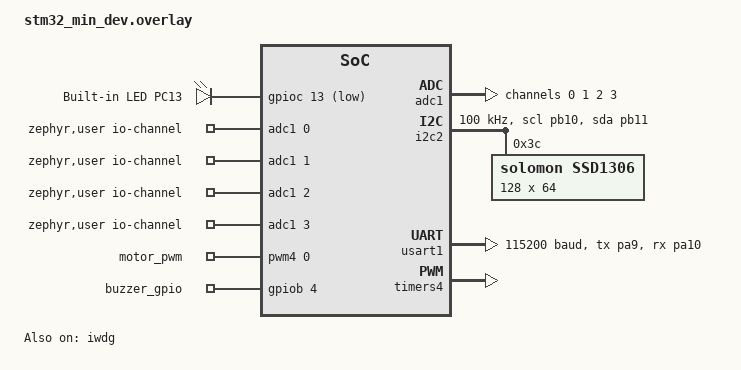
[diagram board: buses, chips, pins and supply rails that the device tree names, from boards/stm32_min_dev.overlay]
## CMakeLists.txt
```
# SPDX-License-Identifier: Apache-2.0
# GloveAssist — STM32F103 Application CMakeLists.txt

cmake_minimum_required(VERSION 3.20.0)

find_package(Zephyr REQUIRED HINTS $ENV{ZEPHYR_BASE})
project(gloveassist_stm32 LANGUAGES C)

# Shared + target-specific headers
target_include_directories(app PRIVATE
    ${CMAKE_CURRENT_SOURCE_DIR}/../common/include
    ${CMAKE_CURRENT_SOURCE_DIR}/include
)

# Common shared sources (protocol, CRC)
target_sources(app PRIVATE
    ../common/src/frame_protocol.c
)

# STM32-specific application sources
target_sources(app PRIVATE
    src/main.c
    src/sensor_logic.c
    src/safety_diag.c
    src/haptic_ui.c
    src/uart_comm.c
    src/security.c
    src/calibration.c
)
```

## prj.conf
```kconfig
# STM32 OPTIMIZED for 64KB - ALL HARDWARE FEATURES
# Gestures (ADC), OLED, Buzzer, Motor, UART

# === Kernel minimal ===
CONFIG_MULTITHREADING=y
CONFIG_MAIN_STACK_SIZE=384
CONFIG_SYSTEM_WORKQUEUE_STACK_SIZE=384
CONFIG_IDLE_STACK_SIZE=256
CONFIG_ISR_STACK_SIZE=512
CONFIG_HEAP_MEM_POOL_SIZE=512
CONFIG_EVENTS=y

# === Hardware ===
CONFIG_GPIO=y
CONFIG_ADC=y
CONFIG_I2C=y
# CONFIG_PWM=y  # Motor folosește software PWM (GPIO)
CONFIG_SERIAL=y
CONFIG_UART_INTERRUPT_DRIVEN=y
CONFIG_WATCHDOG=y

# === Flash and NVS (for calibration storage) ===
CONFIG_FLASH=y
CONFIG_FLASH_MAP=y
CONFIG_FLASH_PAGE_LAYOUT=y
CONFIG_NVS=y
CONFIG_MPU_ALLOW_FLASH_WRITE=y

# === Entropy for security (needed by sys_rand_get) ===
CONFIG_TEST_RANDOM_GENERATOR=y

# === OLED raw I2C driver in haptic_ui.c ===
# Keep Zephyr's display driver disabled so it does not initialise the same bus.
# CONFIG_DISPLAY is not set
# CONFIG_SSD1306 is not set

# === Logging MINIMAL ===
CONFIG_LOG=y
CONFIG_LOG_DEFAULT_LEVEL=2
CONFIG_LOG_MODE_MINIMAL=y
CONFIG_CONSOLE=n
CONFIG_UART_CONSOLE=n
CONFIG_EARLY_CONSOLE=n

# === Printf optimization ===
CONFIG_CBPRINTF_NANO=y
CONFIG_CBPRINTF_COMPLETE=n

# === Size optimizations ===
CONFIG_SIZE_OPTIMIZATIONS=y

# === Minimal features for size ===
CONFIG_BOOT_BANNER=n
CONFIG_THREAD_NAME=n
CONFIG_ASSERT=n
CONFIG_DEBUG=n
CONFIG_THREAD_MONITOR=n
CONFIG_STACK_SENTINEL=n
CONFIG_INIT_STACKS=n
CONFIG_TIMESLICING=n
```

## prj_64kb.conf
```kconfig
# STM32 OPTIMIZED for 64KB - ALL HARDWARE FEATURES
# Gestures (ADC), OLED, Buzzer, Motor, UART

# === Kernel minimal ===
CONFIG_MULTITHREADING=y
CONFIG_MAIN_STACK_SIZE=384
CONFIG_SYSTEM_WORKQUEUE_STACK_SIZE=384
CONFIG_IDLE_STACK_SIZE=256
CONFIG_ISR_STACK_SIZE=512
CONFIG_HEAP_MEM_POOL_SIZE=512
CONFIG_EVENTS=y

# === Hardware ===
CONFIG_GPIO=y
CONFIG_ADC=y
CONFIG_I2C=y
CONFIG_PWM=y
CONFIG_UART_INTERRUPT_DRIVEN=y
CONFIG_WATCHDOG=y

# === Display (OLED SSD1306) ===
CONFIG_DISPLAY=y
CONFIG_SSD1306=y
CONFIG_CHARACTER_FRAMEBUFFER=y
# Use minimal font
CONFIG_CFB_FONT_SIZE_8=y

# === Logging MINIMAL ===
CONFIG_LOG=y
CONFIG_LOG_DEFAULT_LEVEL=2
CONFIG_LOG_MODE_MINIMAL=y
CONFIG_PRINTK=n
CONFIG_EARLY_CONSOLE=n
CONFIG_CONSOLE=n

# === Printf optimization ===
CONFIG_CBPRINTF_NANO=y
CONFIG_CBPRINTF_COMPLETE=n

# === Size optimizations ===
CONFIG_SIZE_OPTIMIZATIONS=y
CONFIG_COMPILER_OPT="Os"
CONFIG_NO_OPTIMIZATIONS=n
CONFIG_DEBUG_OPTIMIZATIONS=n

# === Disable heavy features ===
CONFIG_ASSERT=n
CONFIG_DEBUG=n
CONFIG_THREAD_MONITOR=n
CONFIG_INIT_STACKS=n
CONFIG_BOOT_BANNER=n
CONFIG_THREAD_NAME=n

# === Memory minimal ===
CONFIG_TIMESLICING=n
CONFIG_KERNEL_MEM_POOL=n
```

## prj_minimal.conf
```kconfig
# STM32 MINIMAL TEST CONFIG - Hardware validation only
# Target: <30KB to fit in 64KB flash

# === Kernel basics ===
CONFIG_MAIN_STACK_SIZE=512
CONFIG_IDLE_STACK_SIZE=256
CONFIG_ISR_STACK_SIZE=512
CONFIG_SYSTEM_WORKQUEUE_STACK_SIZE=512

# === GPIO + UART only ===
CONFIG_GPIO=y
CONFIG_SERIAL=y
CONFIG_UART_INTERRUPT_DRIVEN=y
CONFIG_CONSOLE=y
CONFIG_UART_CONSOLE=y
CONFIG_PRINTK=y

# === Logging ===
CONFIG_LOG=y
CONFIG_LOG_DEFAULT_LEVEL=3
CONFIG_PRINTK_BUFFER_SIZE=128

# === Minimal memory ===
CONFIG_HEAP_MEM_POOL_SIZE=1024
CONFIG_SIZE_OPTIMIZATIONS=y

# === Thread info ===
CONFIG_THREAD_NAME=y
CONFIG_BOOT_BANNER=y
```

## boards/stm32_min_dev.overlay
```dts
/*
 * Board overlay for STM32F103C8 "Blue Pill" — GloveAssist STM32 app
 *
 * I2C2:  SSD1306 OLED (PB10 SCL, PB11 SDA)
 * UART1: ESP32 communication (PA9 TX, PA10 RX)
 * ADC:   PA0..PA3 (4 flex sensors, 1kΩ dividers)
 * GPIO:  PB4 active buzzer, PC13 built-in LED (active LOW)
 * PWM:   TIM4_CH1 PB6 motor vibrații via ULN2003
 *        NOTE: PA0 este ADC-only — motorul MUTAT pe PB6 (TIM4_CH1)
 * WDT:   IWDG 2s timeout
 */

/ {
	aliases {
		led0 = &led_builtin;
	};

	leds {
		compatible = "gpio-leds";
		led_builtin: led_0 {
			gpios = <&gpioc 13 GPIO_ACTIVE_LOW>;
			label = "Built-in LED PC13";
		};
	};
};

/* Override flash to 128 KB — most STM32F103C8 chips have 128 KB usable */
&flash0 {
	reg = <0x08000000 0x20000>;
};

/* PB4 is NJTRST after reset on STM32F103. Keep SWD enabled, release JTAG pins. */
&pinctrl {
	swj-cfg = "jtag-disable";
};

/ {
	zephyr,user {
		io-channels = <&adc1 0>, <&adc1 1>, <&adc1 2>, <&adc1 3>;
	};

	aliases {
		watchdog0 = &iwdg;
	};
};

/* ---- ADC (flex sensors PA0..PA3) ---- */
&adc1 {
	status = "okay";
	#address-cells = <1>;
	#size-cells = <0>;

	channel@0 {
		reg = <0>;
		zephyr,gain = "ADC_GAIN_1";
		zephyr,reference = "ADC_REF_INTERNAL";
		zephyr,acquisition-time = <ADC_ACQ_TIME_DEFAULT>;
		zephyr,resolution = <12>;
	};

	channel@1 {
		reg = <1>;
		zephyr,gain = "ADC_GAIN_1";
		zephyr,reference = "ADC_REF_INTERNAL";
		zephyr,acquisition-time = <ADC_ACQ_TIME_DEFAULT>;
		zephyr,resolution = <12>;
	};

	channel@2 {
		reg = <2>;
		zephyr,gain = "ADC_GAIN_1";
		zephyr,reference = "ADC_REF_INTERNAL";
		zephyr,acquisition-time = <ADC_ACQ_TIME_DEFAULT>;
		zephyr,resolution = <12>;
	};

	channel@3 {
		reg = <3>;
		zephyr,gain = "ADC_GAIN_1";
		zephyr,reference = "ADC_REF_INTERNAL";
		zephyr,acquisition-time = <ADC_ACQ_TIME_DEFAULT>;
		zephyr,resolution = <12>;
	};
};

/* ---- I2C2: OLED SSD1306 via PB10(SCL) PB11(SDA) ---- */
&i2c2 {
	status = "okay";
	pinctrl-0 = <&i2c2_scl_pb10 &i2c2_sda_pb11>;
	pinctrl-names = "default";
	clock-frequency = <I2C_BITRATE_STANDARD>;

	ssd1306: ssd1306@3c {
		compatible = "solomon,ssd1306";
		reg = <0x3c>;
		width = <128>;
		height = <64>;
		segment-offset = <0>;
		page-offset = <0>;
		display-offset = <0>;
		multiplex-ratio = <63>;
		prechargep = <0x22>;
		segment-remap;
		com-invdir;
	};
};

/* PB10/PB11 overlap USART3 pins in the base board DTS. */
&usart3 {
	status = "disabled";
};

/* ---- USART1: ESP32 inter-MCU communication (115200 baud, 8N1 prototype mode) ---- */
/*     PA9 TX → ESP32 GPIO16 RX                                        */
/*     PA10 RX ← ESP32 GPIO17 TX                                       */
&usart1 {
	status = "okay";
	pinctrl-0 = <&usart1_tx_pa9 &usart1_rx_pa10>;
	pinctrl-names = "default";
	current-speed = <115200>;
};

/* ---- Watchdog (IWDG) ---- */
&iwdg {
	status = "okay";
};

/* ---- PWM: TIM4_CH1 PB6 motor ---- */
/* Motor pe TIM4_CH1 (PB6) — PA0 rezervat exclusiv pentru ADC CH0 */
&timers4 {
	status = "okay";

	pwm4: pwm {
		status = "okay";
		pinctrl-0 = <&tim4_ch1_pwm_out_pb6>;
		pinctrl-names = "default";
	};
};

&i2c1 {
	status = "disabled";
};

/ {
	chosen {
		zephyr,display = &ssd1306;
	};

	/* PWM spec node — aliasul din haptic_ui.c cauta motor-pwm */
	pwm_devs {
		compatible = "pwm-leds";
		motor_pwm: motor_pwm {
			/* TIM4_CH1 (PB6), 1ms period, normal polarity */
			pwms = <&pwm4 0 1000000 0>;
		};
	};

	gpio_devs {
		compatible = "gpio-leds";
		buzzer_gpio: buzzer_gpio {
			gpios = <&gpiob 4 GPIO_ACTIVE_HIGH>;
		};
	};

	aliases {
		motor-pwm  = &motor_pwm;
		buzzergpio = &buzzer_gpio;
	};
};
```

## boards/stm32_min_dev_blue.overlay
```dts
/*
 * Variant overlay for STM32F103C8 "Blue Pill".
 *
 * The common hardware mapping lives in stm32_min_dev.overlay:
 *   - OLED SSD1306 on I2C2 PB10/PB11
 *   - USART1 PA9/PA10 at 115200 baud
 *   - PB4 active buzzer as GPIO
 *   - PB6 TIM4_CH1 motor PWM via ULN2003
 *
 * This variant only reserves the final 2 KB of flash for Zephyr NVS.
 */

&flash0 {
	reg = <0x08000000 0x20000>;

	partitions {
		compatible = "fixed-partitions";
		#address-cells = <1>;
		#size-cells = <1>;

		/* NVS: 2 pages x 1 KB at the end of 128 KB flash.
		 * Absolute range: 0x0801F800 - 0x0801FFFF.
		 */
		storage_partition: partition@1f800 {
			label = "storage";
			reg = <0x0001f800 0x00000800>;
		};
	};
};
```

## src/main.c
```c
/**
 * @file main.c
 * @brief GloveAssist STM32 firmware — entry point and thread definitions
 *
 * STM32F103 responsibilities:
 *   - ADC acquisition (4 flex sensors)
 *   - Gesture classification (rule-based)
 *   - UART communication to ESP32 (USART1: PA9 TX, PA10 RX @ 115200 baud)
 *   - OLED display (SSD1306 via I2C2)
 *   - Haptic feedback (motor TIM4_CH1 PB6, active buzzer GPIO PB4)
 *   - Safety: watchdog, sensor faults, ESP32 heartbeat monitor
 */

#include <zephyr/kernel.h>
#include <zephyr/logging/log.h>

#include "app_config.h"
#include "common_types.h"
#include "safety_diag.h"
#include "security.h"
#include "sensor_logic.h"
#include "uart_comm.h"
#include "haptic_ui.h"

LOG_MODULE_REGISTER(main, CONFIG_LOG_DEFAULT_LEVEL);

/* ---------- Thread definitions (auto-started) ---------- */
K_THREAD_DEFINE(safety_tid, STACK_SAFETY,
                safety_thread_entry, NULL, NULL, NULL,
                PRIO_SAFETY_THREAD, 0, 0);

K_THREAD_DEFINE(sensor_tid, STACK_SENSOR,
                sensor_thread_entry, NULL, NULL, NULL,
                PRIO_SENSOR_THREAD, 0, 0);

K_THREAD_DEFINE(haptic_tid, STACK_HAPTIC,
                haptic_thread_entry, NULL, NULL, NULL,
                PRIO_HAPTIC_THREAD, 0, 0);

K_THREAD_DEFINE(uart_comm_tid, STACK_UART_COMM,
                uart_comm_thread_entry, NULL, NULL, NULL,
                PRIO_UART_COMM_THREAD, 0, 0);

/* ---------- Shared message queue: sensor -> UART TX ---------- */
K_MSGQ_DEFINE(sensor_msgq, sizeof(sensor_packet_t), 8, 4);

int main(void)
{
    LOG_INF("=== GloveAssist STM32 firmware ===");
    LOG_INF("Threads: safety(P%d), uart_comm(P%d), sensor(P%d)",
            PRIO_SAFETY_THREAD, PRIO_UART_COMM_THREAD,
            PRIO_SENSOR_THREAD);

    /* Initialise safety subsystem (watchdog + heartbeat monitor) */
    int ret = safety_init();
    if (ret < 0) {
        LOG_ERR("Safety init failed: %d — continuing in degraded mode", ret);
    }

    ret = security_init();
    if (ret < 0) {
        LOG_ERR("Security init failed: %d", ret);
    }

    LOG_INF("All threads auto-started — main() returning to idle");
    return 0;
}
```

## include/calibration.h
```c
/**
 * @file calibration.h
 * @brief Calibrare automata praguri flex sensors cu stocare NVS
 *
 * Fluxul de calibrare:
 *   1. La pornire: calibration_init() incarca pragurile din NVS.
 *      Daca NVS e gol -> scrie defaults din app_config.h.
 *      Daca valorile ADC live difera >CALIB_DRIFT_PERCENT fata de NVS -> log warning.
 *
 *   2. La cerere (BLE CMD_CALIBRATE sau manual):
 *      calibration_start() face o sesiune interactiva:
 *        - 5s: masoara ADC cu degetele DREPTE  -> OPEN per canal
 *        - 5s: masoara ADC cu degetele INDOITE -> BENT per canal
 *        - calculeaza prag = (OPEN + BENT) / 2
 *        - scrie in NVS
 *        - actualizeaza k_thresh[] in sensor_logic la urmatorul ciclu
 *
 * NVS key: ID 10 = profil versionat cu magic/checksum.
 *          ID 1..3 sunt pastrate doar pentru migrare din format vechi.
 */

#ifndef CALIBRATION_H
#define CALIBRATION_H

#include <stdint.h>
#include <stdbool.h>
#include "common_types.h"

struct adc_dt_spec;

/* Procent maxim de deriva acceptabila inainte de warning recalibrare */
#define CALIB_DRIFT_PERCENT   20U
/* Durata masurare pentru o pozitie (ms) */
#define CALIB_MEASURE_MS    5000U
/* Numar de esantioane mediate per pozitie */
#define CALIB_NUM_SAMPLES     50U

/* NVS key IDs */
#define CALIB_NVS_ID_THRESH  1U   /* praguri curente uint16_t[4] */
#define CALIB_NVS_ID_OPEN    2U   /* referinte open  uint16_t[4] */
#define CALIB_NVS_ID_BENT    3U   /* referinte bent  uint16_t[4] */
#define CALIB_NVS_ID_PROFILE 10U  /* profil robust versionat + checksum */

/**
 * @brief Initializeaza subsistemul de calibrare.
 *
 * Deschide NVS filesystem, incarca pragurile salvate sau scrie defaults.
 * Trebuie apelata o singura data, inainte de first calibration_get_thresh().
 *
 * @return 0 la succes, negativ la eroare NVS.
 */
int calibration_init(void);

/**
 * @brief Returneaza pragul curent pentru un deget.
 *
 * @param finger  Index deget: FINGER_INDEX..FINGER_PINKY (din common_types.h)
 * @return Prag ADC 12-bit. Daca finger invalid -> returneaza GESTURE_THRESHOLD_BENT.
 */
uint16_t calibration_get_thresh(uint8_t finger);

/**
 * @brief Returneaza true daca calibrarea a fost facuta (NVS contine date reale).
 */
bool calibration_is_calibrated(void);

/**
 * @brief Salveaza manual un set de praguri in NVS.
 *
 * Actualizeza si cache-ul in-memory folosit de calibration_get_thresh().
 *
 * @param thresh  Array de NUM_FLEX_SENSORS valori uint16_t.
 * @return 0 la succes, negativ la eroare NVS.
 */
int calibration_save(const uint16_t thresh[NUM_FLEX_SENSORS]);

/**
 * @brief Seteaza si salveaza pragul pentru un singur deget.
 *
 * Folosit de BLE CMD_SET_THRESH.
 *
 * @param finger  FINGER_INDEX..FINGER_PINKY
 * @param value   Noua valoare ADC prag
 * @return 0 la succes, negativ la eroare.
 */
int calibration_save_one(uint8_t finger, uint16_t value);

/**
 * @brief Reseteaza pragurile la defaults din app_config.h si suprascrie NVS.
 *
 * @return 0 la succes, negativ la eroare NVS.
 */
int calibration_reset_to_defaults(void);

/**
 * @brief Request automatic calibration from another thread.
 *
 * The sensor thread owns the ADC channel descriptors, so BLE/UART command
 * handlers should call this non-blocking request instead of running
 * calibration_start() directly.
 */
void calibration_request_start(void);

/**
 * @brief Consume a pending automatic calibration request.
 *
 * @return true exactly once for each calibration_request_start() call.
 */
bool calibration_take_start_request(void);

/**
 * @brief Porneste o sesiune de calibrare automata interactiva.
 *
 * BLOCANTA — apeleaza din sensor_thread sau un thread dedicat.
 * Durata: ~10s + overhead ADC.
 *
 * Faza 1 (CALIB_MEASURE_MS): masoara ADC cu toate degetele DREPTE.
 * Faza 2 (CALIB_MEASURE_MS): masoara ADC cu toate degetele INDOITE.
 * Calculeaza prag = (open + bent) / 2, salveaza in NVS.
 *
 * @param adc_channels  Pointer la array de adc_dt_spec (din sensor_logic.c)
 * @return 0 la succes, negativ la eroare ADC/NVS.
 */
int calibration_start(const struct adc_dt_spec *adc_channels);

#endif /* CALIBRATION_H */
```

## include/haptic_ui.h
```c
/**
 * @file haptic_ui.h
 * @brief Haptic feedback (motor + buzzer) and OLED display API (STM32)
 */

#ifndef HAPTIC_UI_H
#define HAPTIC_UI_H

#include "common_types.h"

/**
 * @brief Haptic/UI thread entry point.
 *
 * Waits for K_EVENT flags and plays motor/buzzer patterns (software PWM):
 *   EVT_GESTURE_ACK  — short pulse on successful gesture detection
 *   EVT_ERROR        — double-beep error signal
 *   EVT_SOS_ALARM    — continuous SOS pattern (degraded mode)
 */
void haptic_thread_entry(void *p1, void *p2, void *p3);

/**
 * @brief Display a gesture and play the normal acknowledgement pattern.
 */
void haptic_notify_gesture(u8_t gesture_id);

/**
 * @brief Signal that a remote message/notification was received.
 */
void haptic_notify_message(void);

/**
 * @brief Signal the haptic thread to play an error pattern.
 *
 * Safe to call from any thread or ISR context.
 * No-op if CONFIG_PWM is not enabled.
 */
void haptic_notify_error(void);

/**
 * @brief Signal the haptic thread to play the degraded-mode SOS pattern.
 */
void haptic_notify_sos(void);

/**
 * @brief Signal that phone confirmed message ("inteles") — motor 2×pulse + OLED OK.
 *
 * Safe to call from any thread context.
 */
void haptic_notify_ack_received(void);

#endif /* HAPTIC_UI_H */
```

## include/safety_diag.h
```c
/**
 * @file safety_diag.h
 * @brief Safety subsystem API — watchdog, sensor validation, heartbeat monitor
 *
 * IEC 61508 Functional Safety:
 *   - Sensor open/short-circuit detection with fallback
 *   - IWDG watchdog (2s timeout)
 *   - ESP32 heartbeat monitoring → degraded mode with local alarm
 */

#ifndef SAFETY_DIAG_H
#define SAFETY_DIAG_H

#include "common_types.h"
#include "error_codes.h"

/**
 * @brief Initialise watchdog and heartbeat monitor.
 * @return 0 on success, negative on error.
 */
int safety_init(void);

/**
 * @brief Feed the hardware watchdog. Call from main processing loop.
 */
void safety_watchdog_feed(void);

/**
 * @brief Validate a sensor reading (open/short-circuit detection).
 *
 * After FAULT_THRESHOLD consecutive faults on a channel, the output
 * falls back to the last known good reading.
 *
 * @param ch   Channel index (0..3).
 * @param raw  Raw ADC reading.
 * @param out  Output: validated or fallback value.
 * @return ERR_SENSOR_OK or specific error code.
 */
error_code_t safety_validate_sensor(uint8_t ch, uint16_t raw, uint16_t *out);

/**
 * @brief Check if all sensors are in a fault state.
 * @return true if all channels have exceeded the fault threshold.
 */
bool safety_all_sensors_faulted(void);

/**
 * @brief Enter safe state: disable motor, stop BLE, show FAULT on OLED.
 */
void safety_enter_lockdown(void);

/**
 * @brief Notify safety subsystem that a heartbeat was received from ESP32.
 *
 * Called by UART RX thread when MSG_TYPE_HEARTBEAT is received.
 */
void safety_heartbeat_received(void);

/**
 * @brief Check if ESP32 is considered alive (heartbeat within timeout).
 * @return true if ESP32 heartbeat is current.
 */
bool safety_esp32_alive(void);

/**
 * @brief Check if system is in degraded mode (ESP32 unreachable).
 * @return true if operating in degraded mode.
 */
bool safety_is_degraded(void);

/**
 * @brief Safety monitor thread entry point (auto-started).
 *
 * Periodically checks ESP32 heartbeat, feeds watchdog, and triggers
 * local alarm if ESP32 is unresponsive for HEARTBEAT_TIMEOUT_MS.
 */
void safety_thread_entry(void *p1, void *p2, void *p3);

#endif /* SAFETY_DIAG_H */
```

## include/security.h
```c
/**
 * @file security.h
 * @brief BLE payload obfuscation, honeypot generation, anti-replay API (STM32)
 */

#ifndef SECURITY_H
#define SECURITY_H

#include <stdint.h>
#include "frame_protocol.h"

/**
 * @brief Initialise security subsystem (XOR key rotation timer, lockdown state).
 * @return 0 on success.
 */
int security_init(void);

/**
 * @brief XOR-obfuscate a payload buffer with the rotating key.
 *
 * @param payload  Buffer to obfuscate in-place.
 * @param len      Number of bytes to process.
 */
void security_xor_payload(uint8_t *payload, uint8_t len);

/**
 * @brief Build a randomised honeypot protocol frame.
 *
 * @param frame  Output frame (must not be NULL).
 * @return 0 on success, negative on error.
 */
int security_gen_honeypot(glove_frame_t *frame);

/**
 * @brief Validate a received protocol frame and track consecutive invalid frames.
 *
 * Triggers lockdown after LOCKDOWN_INVALID_FRAMES consecutive failures.
 *
 * @param frame  Received frame.
 * @return 0 if valid, ERR_SECURITY_LOCKDOWN or CRC error code otherwise.
 */
int security_check_frame(const glove_frame_t *frame);

#endif /* SECURITY_H */
```

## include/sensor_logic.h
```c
/**
 * @file sensor_logic.h
 * @brief STM32 Sensor Hub LITE (v2.0) API
 *
 * NEW ARCHITECTURE:
 * - STM32: ADC acquisition ONLY → sends RAW_ADC frames to ESP32 @ 50Hz
 * - ESP32: Filtering + Classification → sends GESTURE back
 * - STM32: Receives gesture → triggers haptic feedback
 */

#ifndef SENSOR_LOGIC_H
#define SENSOR_LOGIC_H

#include <stdint.h>

/**
 * @brief Sensor acquisition thread entry point (LITE version).
 *
 * Reads 4 flex sensors via ADC, sends RAW_ADC frames to ESP32 via UART.
 * No local filtering or classification.
 */
void sensor_thread_entry(void *p1, void *p2, void *p3);

/**
 * @brief Set current gesture (called from uart_comm when ESP32 sends GESTURE).
 * @param gesture_id Gesture ID from ESP32 (GESTURE_FIST, GESTURE_INDEX, etc.)
 */
void sensor_set_gesture(uint8_t gesture_id);

/**
 * @brief Get current gesture (received from ESP32).
 * @return Current gesture ID
 */
uint8_t sensor_get_current_gesture(void);

#endif /* SENSOR_LOGIC_H */
```

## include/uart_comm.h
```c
/**
 * @file uart_comm.h
 * @brief UART inter-MCU communication thread API (STM32 side)
 *
 * STM32 sends frames to ESP32 via USART1 (PA9 TX, PA10 RX).
 * Protocol: glove_frame_t, 12 bytes — SOF + TYPE + SEQ + PAYLOAD[8] XOR + CRC8.
 */

#ifndef UART_COMM_STM32_H
#define UART_COMM_STM32_H

#include "frame_protocol.h"

/**
 * @brief UART comm thread entry point (auto-started via K_THREAD_DEFINE).
 *
 * Periodically sends sensor/gesture frames to ESP32 and receives
 * heartbeat/command frames back. Calls safety_heartbeat_received() on HB RX.
 */
void uart_comm_thread_entry(void *p1, void *p2, void *p3);

#endif /* UART_COMM_STM32_H */
```

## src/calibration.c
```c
/**
 * @file calibration.c
 * @brief Calibrare automata praguri flex sensors cu stocare Zephyr NVS
 *
 * Partiție NVS: "storage" (label din overlay) — 2KB la 0x0801F800
 * Chei NVS:
 *   ID 10 (CALIB_NVS_ID_PROFILE): profil versionat cu magic + checksum
 *   ID 1..3: format vechi, pastrat pentru migrare automata
 */

#include <zephyr/kernel.h>
#include <zephyr/kvss/nvs.h>
#include <zephyr/storage/flash_map.h>
#include <zephyr/drivers/adc.h>
#include <zephyr/logging/log.h>
#include <string.h>

#include "app_config.h"
#include "common_types.h"
#include "calibration.h"

LOG_MODULE_REGISTER(calibration, CONFIG_LOG_DEFAULT_LEVEL);

/* ---------- NVS filesystem handle ---------- */
static struct nvs_fs nvs;

/* ---------- Cache in RAM (evita NVS read la fiecare ciclu) ---------- */
static uint16_t thresh_cache[NUM_FLEX_SENSORS];
static uint16_t open_cache[NUM_FLEX_SENSORS];
static uint16_t bent_cache[NUM_FLEX_SENSORS];
static bool     nvs_ready       = false;
static bool     is_calibrated   = false;
static atomic_t start_requested;

/* ---------- Default praguri din app_config.h (fallback) ---------- */
static const uint16_t k_defaults[NUM_FLEX_SENSORS] = {
    GESTURE_THRESH_INDEX,   /* FINGER_INDEX  */
    GESTURE_THRESH_MIDDLE,  /* FINGER_MIDDLE */
    GESTURE_THRESH_RING,    /* FINGER_RING   */
    GESTURE_THRESH_PINKY,   /* FINGER_PINKY  */
};

#define CALIB_PROFILE_MAGIC   0x474C5643UL  /* "GLVC" */
#define CALIB_PROFILE_VERSION 1U

typedef struct __attribute__((packed)) {
    uint32_t magic;
    uint16_t version;
    uint16_t size;
    uint8_t  calibrated;
    uint8_t  reserved[3];
    uint16_t thresh[NUM_FLEX_SENSORS];
    uint16_t open_ref[NUM_FLEX_SENSORS];
    uint16_t bent_ref[NUM_FLEX_SENSORS];
    uint32_t checksum;
} calibration_profile_t;

static uint32_t checksum_fnv1a(const void *data, size_t len)
{
    const uint8_t *bytes = (const uint8_t *)data;
    uint32_t hash = 2166136261UL;

    for (size_t i = 0U; i < len; i++) {
        hash ^= bytes[i];
        hash *= 16777619UL;
    }

    return hash;
}

static uint32_t profile_checksum(const calibration_profile_t *profile)
{
    return checksum_fnv1a(profile,
                          sizeof(*profile) - sizeof(profile->checksum));
}

static bool threshold_valid(uint16_t value)
{
    return ((value >= (uint16_t)ADC_MIN_VALID) &&
            (value <= (uint16_t)ADC_MAX_VALID));
}

static bool thresholds_valid(const uint16_t thresh[NUM_FLEX_SENSORS])
{
    for (uint8_t i = 0U; i < (uint8_t)NUM_FLEX_SENSORS; i++) {
        if (!threshold_valid(thresh[i])) {
            return false;
        }
    }

    return true;
}

static void profile_prepare(calibration_profile_t *profile,
                            const uint16_t thresh[NUM_FLEX_SENSORS],
                            const uint16_t open_ref[NUM_FLEX_SENSORS],
                            const uint16_t bent_ref[NUM_FLEX_SENSORS],
                            bool calibrated)
{
    (void)memset(profile, 0, sizeof(*profile));
    profile->magic = CALIB_PROFILE_MAGIC;
    profile->version = CALIB_PROFILE_VERSION;
    profile->size = (uint16_t)sizeof(*profile);
    profile->calibrated = calibrated ? 1U : 0U;
    (void)memcpy(profile->thresh, thresh, sizeof(profile->thresh));
    (void)memcpy(profile->open_ref, open_ref, sizeof(profile->open_ref));
    (void)memcpy(profile->bent_ref, bent_ref, sizeof(profile->bent_ref));
    profile->checksum = profile_checksum(profile);
}

static bool profile_validate(const calibration_profile_t *profile)
{
    bool valid = true;

    if (profile->magic != CALIB_PROFILE_MAGIC) {
        valid = false;
    } else if (profile->version != CALIB_PROFILE_VERSION) {
        valid = false;
    } else if (profile->size != (uint16_t)sizeof(*profile)) {
        valid = false;
    } else if (profile->checksum != profile_checksum(profile)) {
        valid = false;
    }

    if (valid) {
        for (uint8_t i = 0U; i < (uint8_t)NUM_FLEX_SENSORS; i++) {
            if (!threshold_valid(profile->thresh[i])) {
                valid = false;
                break;
            }
        }
    }

    return valid;
}

static void load_profile_to_cache(const calibration_profile_t *profile)
{
    (void)memcpy(thresh_cache, profile->thresh, sizeof(thresh_cache));
    (void)memcpy(open_cache, profile->open_ref, sizeof(open_cache));
    (void)memcpy(bent_cache, profile->bent_ref, sizeof(bent_cache));
    is_calibrated = (profile->calibrated != 0U);
}

static void fill_default_cache(void)
{
    (void)memcpy(thresh_cache, k_defaults, sizeof(thresh_cache));
    (void)memset(open_cache, 0, sizeof(open_cache));
    (void)memset(bent_cache, 0, sizeof(bent_cache));
    is_calibrated = false;
}

static void warn_threshold_drift(void)
{
    for (uint8_t i = 0U; i < (uint8_t)NUM_FLEX_SENSORS; i++) {
        uint32_t def  = (uint32_t)k_defaults[i];
        uint32_t cur  = (uint32_t)thresh_cache[i];
        uint32_t diff = (cur > def) ? (cur - def) : (def - cur);
        uint32_t pct  = (def > 0U) ? ((diff * 100U) / def) : 0U;

        if (pct > (uint32_t)CALIB_DRIFT_PERCENT) {
            LOG_WRN("Finger %u: prag=%u, default=%u, deriva=%u%% - "
                    "recalibrare recomandata",
                    i, thresh_cache[i], k_defaults[i], pct);
        }
    }
}

static int save_profile(bool calibrated)
{
    calibration_profile_t profile;

    if (!nvs_ready) {
        LOG_ERR("NVS nu e gata - salvare imposibila");
        return -ENODEV;
    }

    if (!thresholds_valid(thresh_cache)) {
        LOG_ERR("Prag invalid - profilul nu este salvat");
        return -EINVAL;
    }

    profile_prepare(&profile, thresh_cache, open_cache, bent_cache, calibrated);

    ssize_t rc = nvs_write(&nvs, CALIB_NVS_ID_PROFILE,
                           &profile, sizeof(profile));
    if (rc < 0) {
        LOG_ERR("nvs_write profile failed: %d", (int)rc);
        return (int)rc;
    }

    is_calibrated = calibrated;
    LOG_INF("Profil calibrare salvat v%u checksum=0x%08X",
            CALIB_PROFILE_VERSION, profile.checksum);
    return 0;
}

static bool try_load_profile(void)
{
    calibration_profile_t profile;
    ssize_t bytes = nvs_read(&nvs, CALIB_NVS_ID_PROFILE,
                             &profile, sizeof(profile));

    if (bytes != (ssize_t)sizeof(profile)) {
        return false;
    }

    if (!profile_validate(&profile)) {
        LOG_WRN("Profil calibrare NVS invalid - fallback/migrare");
        return false;
    }

    load_profile_to_cache(&profile);
    LOG_INF("Profil calibrare incarcat v%u: I=%u M=%u R=%u P=%u",
            profile.version,
            thresh_cache[FINGER_INDEX], thresh_cache[FINGER_MIDDLE],
            thresh_cache[FINGER_RING],  thresh_cache[FINGER_PINKY]);
    warn_threshold_drift();
    return true;
}

static bool try_migrate_legacy(void)
{
    uint16_t legacy_thresh[NUM_FLEX_SENSORS];
    ssize_t bytes = nvs_read(&nvs, CALIB_NVS_ID_THRESH,
                             legacy_thresh, sizeof(legacy_thresh));

    if (bytes != (ssize_t)sizeof(legacy_thresh)) {
        return false;
    }

    if (!thresholds_valid(legacy_thresh)) {
        LOG_WRN("Format vechi gasit, dar pragurile sunt invalide");
        return false;
    }

    (void)memcpy(thresh_cache, legacy_thresh, sizeof(thresh_cache));

    bytes = nvs_read(&nvs, CALIB_NVS_ID_OPEN, open_cache, sizeof(open_cache));
    if (bytes != (ssize_t)sizeof(open_cache)) {
        (void)memset(open_cache, 0, sizeof(open_cache));
    }

    bytes = nvs_read(&nvs, CALIB_NVS_ID_BENT, bent_cache, sizeof(bent_cache));
    if (bytes != (ssize_t)sizeof(bent_cache)) {
        (void)memset(bent_cache, 0, sizeof(bent_cache));
    }

    is_calibrated = true;
    LOG_INF("Migrare calibrare legacy -> profil versionat");
    (void)save_profile(true);
    warn_threshold_drift();
    return true;
}

/* ===================================================================== */
/*                         INIT                                          */
/* ===================================================================== */

int calibration_init(void)
{
    int rc;

    /* Obtine adresa si dimensiunea partitiei "storage" din flash map */
    const struct flash_area *fa;
    rc = flash_area_open(PARTITION_ID(storage_partition), &fa);
    if (rc < 0) {
        LOG_ERR("flash_area_open failed: %d", rc);
        /* Fallback la defaults in RAM chiar daca NVS nu e disponibil */
        fill_default_cache();
        return rc;
    }

    nvs.flash_device = fa->fa_dev;
    nvs.offset       = fa->fa_off;
    nvs.sector_size  = 1024U; /* 1KB per pagina STM32F103 */
    nvs.sector_count = 2U;    /* 2 pagini = 2KB total */

    rc = nvs_mount(&nvs);
    if (rc < 0) {
        LOG_ERR("nvs_mount failed: %d — folosesc defaults", rc);
        flash_area_close(fa);
        fill_default_cache();
        return rc;
    }
    nvs_ready = true;
    flash_area_close(fa);

    if (!try_load_profile() && !try_migrate_legacy()) {
        LOG_INF("NVS gol/corupt - scriu profil defaults");
        fill_default_cache();
        rc = save_profile(false);
        if (rc < 0) {
            LOG_ERR("Scriere profil defaults esuata: %d", rc);
        }
    }

    return 0;
}

/* ===================================================================== */
/*                         GET / QUERY                                   */
/* ===================================================================== */

uint16_t calibration_get_thresh(uint8_t finger)
{
    if (finger >= (uint8_t)NUM_FLEX_SENSORS) {
        return (uint16_t)GESTURE_THRESHOLD_BENT;
    }
    return thresh_cache[finger];
}

bool calibration_is_calibrated(void)
{
    return is_calibrated;
}

/* ===================================================================== */
/*                         SAVE                                          */
/* ===================================================================== */

int calibration_save(const uint16_t thresh[NUM_FLEX_SENSORS])
{
    if (!thresholds_valid(thresh)) {
        return -EINVAL;
    }

    (void)memcpy(thresh_cache, thresh, sizeof(thresh_cache));
    int rc = save_profile(true);
    if (rc == 0) {
        LOG_INF("Praguri salvate: I=%u M=%u R=%u P=%u",
                thresh_cache[FINGER_INDEX],  thresh_cache[FINGER_MIDDLE],
                thresh_cache[FINGER_RING],   thresh_cache[FINGER_PINKY]);
    }
    return rc;
}

int calibration_save_one(uint8_t finger, uint16_t value)
{
    if (finger >= (uint8_t)NUM_FLEX_SENSORS) {
        return -EINVAL;
    }
    if (!threshold_valid(value)) {
        return -EINVAL;
    }
    thresh_cache[finger] = value;
    return save_profile(true);
}

int calibration_reset_to_defaults(void)
{
    LOG_INF("Reset calibrare la defaults din app_config.h");
    fill_default_cache();
    return save_profile(false);
}

void calibration_request_start(void)
{
    atomic_set(&start_requested, 1);
}

bool calibration_take_start_request(void)
{
    return (atomic_set(&start_requested, 0) != 0);
}

/* ===================================================================== */
/*                         SESIUNE AUTO                                  */
/* ===================================================================== */

/**
 * @brief Masoara media ADC pe CALIB_MEASURE_MS pentru toate canalele.
 *
 * @param adc_channels  Array de ADC specs
 * @param out           Output: medie per canal (array NUM_FLEX_SENSORS)
 * @return 0 la succes, negativ la eroare ADC
 */
static int measure_average(const struct adc_dt_spec *adc_channels,
                            uint16_t out[NUM_FLEX_SENSORS])
{
    uint32_t sum[NUM_FLEX_SENSORS] = {0U};
    uint32_t count = 0U;
    int16_t  buf;
    struct adc_sequence seq = {
        .buffer      = &buf,
        .buffer_size = sizeof(buf),
    };

    int64_t deadline = k_uptime_get() + (int64_t)CALIB_MEASURE_MS;

    while (k_uptime_get() < deadline) {
        for (uint8_t ch = 0U; ch < (uint8_t)NUM_FLEX_SENSORS; ch++) {
            (void)adc_sequence_init_dt(&adc_channels[ch], &seq);
            int rc = adc_read_dt(&adc_channels[ch], &seq);
            if (rc < 0) {
                LOG_WRN("ADC ch%u eroare: %d", ch, rc);
                continue;
            }
            sum[ch] += (uint32_t)buf;
        }
        count++;
        k_msleep((uint32_t)CALIB_MEASURE_MS / CALIB_NUM_SAMPLES);
    }

    if (count == 0U) {
        return -EIO;
    }

    for (uint8_t ch = 0U; ch < (uint8_t)NUM_FLEX_SENSORS; ch++) {
        out[ch] = (uint16_t)(sum[ch] / count);
    }
    return 0;
}

int calibration_start(const struct adc_dt_spec *adc_channels)
{
    uint16_t open_val[NUM_FLEX_SENSORS] = {0U};
    uint16_t bent_val[NUM_FLEX_SENSORS] = {0U};
    uint16_t new_thresh[NUM_FLEX_SENSORS];
    int rc;

    LOG_INF("=== CALIBRARE START ===");
    LOG_INF("Faza 1: tine toate degetele DREPTE — %u secunde",
            CALIB_MEASURE_MS / 1000U);

    rc = measure_average(adc_channels, open_val);
    if (rc < 0) {
        LOG_ERR("Masurare OPEN esuata: %d", rc);
        return rc;
    }
    LOG_INF("OPEN: I=%u M=%u R=%u P=%u",
            open_val[FINGER_INDEX], open_val[FINGER_MIDDLE],
            open_val[FINGER_RING],  open_val[FINGER_PINKY]);

    LOG_INF("Faza 2: tine toate degetele INDOITE — %u secunde",
            CALIB_MEASURE_MS / 1000U);

    rc = measure_average(adc_channels, bent_val);
    if (rc < 0) {
        LOG_ERR("Masurare BENT esuata: %d", rc);
        return rc;
    }
    LOG_INF("BENT: I=%u M=%u R=%u P=%u",
            bent_val[FINGER_INDEX], bent_val[FINGER_MIDDLE],
            bent_val[FINGER_RING],  bent_val[FINGER_PINKY]);

    /* Calculeaza pragul: (open + bent) / 2 per canal */
    for (uint8_t i = 0U; i < (uint8_t)NUM_FLEX_SENSORS; i++) {
        new_thresh[i] = (uint16_t)(((uint32_t)open_val[i] +
                                    (uint32_t)bent_val[i]) / 2U);
    }

    LOG_INF("PRAG CALCULAT: I=%u M=%u R=%u P=%u",
            new_thresh[FINGER_INDEX], new_thresh[FINGER_MIDDLE],
            new_thresh[FINGER_RING],  new_thresh[FINGER_PINKY]);

    (void)memcpy(thresh_cache, new_thresh, sizeof(thresh_cache));
    (void)memcpy(open_cache, open_val, sizeof(open_cache));
    (void)memcpy(bent_cache, bent_val, sizeof(bent_cache));

    rc = save_profile(true);
    if (rc == 0) {
        LOG_INF("=== CALIBRARE COMPLETA — praguri salvate in NVS ===");
    }
    return rc;
}
```

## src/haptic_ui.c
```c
/**
 * @file haptic_ui.c
 * @brief Haptic feedback (motor + buzzer) and OLED display driver
 *
 * Motor:  ULN2003 low-side driver, software PWM on IN1
 * Buzzer: passive buzzer, software PWM (GPIO toggle at freq_hz)
 * OLED:   SSD1306 128×64 via I2C
 */

#include <zephyr/kernel.h>
/* Motor folosește software PWM (GPIO), nu hardware PWM */
/* #include <zephyr/drivers/pwm.h> */
#include <zephyr/drivers/gpio.h>
#include <zephyr/drivers/i2c.h>
#include <zephyr/logging/log.h>
#include <string.h>

#include "app_config.h"
#include "common_types.h"
#include "haptic_ui.h"

LOG_MODULE_REGISTER(haptic_ui, CONFIG_LOG_DEFAULT_LEVEL);

/* ---------- DeviceTree bindings ---------- */
/* Motor folosește software PWM (GPIO PB6) */
static const struct gpio_dt_spec motor_gpio = {
	.port = DEVICE_DT_GET(DT_NODELABEL(gpiob)),
	.pin = 6,
	.dt_flags = GPIO_ACTIVE_HIGH
};
static const struct gpio_dt_spec buzzer_gpio = GPIO_DT_SPEC_GET(DT_ALIAS(buzzergpio), gpios);

static const struct device *const oled_i2c_dev = DEVICE_DT_GET(DT_NODELABEL(i2c2));
static bool oled_ready;
static uint8_t oled_i2c_addr;
static uint8_t oled_col_offset;
static u8_t last_gesture_mask;

/* ---------- Event flags for haptic patterns ---------- */
K_EVENT_DEFINE(haptic_events);
#define EVT_GESTURE_ACK    BIT(0)
#define EVT_MESSAGE_RX     BIT(1)
#define EVT_ERROR          BIT(2)
#define EVT_SOS_ALARM      BIT(3)   /* Degraded mode: ESP32 down */
#define EVT_ACK_RECEIVED   BIT(4)   /* Phone confirmed "inteles" */

/* Gesture id shared between caller and haptic thread (for per-gesture beeps) */
static atomic_t s_pending_gesture_id;

/* ---------- OLED layout (lightweight, no font dependency) ---------- */
#define OLED_WIDTH_PX         128U
#define OLED_HEIGHT_PX         64U
#define OLED_PAGE_COUNT        (OLED_HEIGHT_PX / 8U)
#define OLED_BAR_COUNT          4U
#define OLED_BAR_WIDTH         20U
#define OLED_BAR_GAP           10U
#define OLED_BAR_X0             9U
#define OLED_ACTIVE_BAR_PAGES   6U
#define OLED_IDLE_BAR_PAGES     1U

/* ---------- Motor control via software PWM (GPIO toggle) ---------- */
/* PWM software: 100Hz (10ms period), duty 0-100% */
static void motor_pwm_soft(u8_t duty_percent, u32_t duration_ms)
{
    if (duty_percent == 0U) {
        gpio_pin_set_dt(&motor_gpio, 0);
        k_msleep(duration_ms);
        return;
    }
    
    if (duty_percent >= 100U) {
        gpio_pin_set_dt(&motor_gpio, 1);
        k_msleep(duration_ms);
        return;
    }
    
    u32_t period_ms = 10U;  /* 100Hz */
    u32_t on_time_ms = (period_ms * duty_percent) / 100U;
    u32_t off_time_ms = period_ms - on_time_ms;
    u32_t cycles = duration_ms / period_ms;
    
    for (u32_t i = 0U; i < cycles; i++) {
        gpio_pin_set_dt(&motor_gpio, 1);
        k_msleep(on_time_ms);
        gpio_pin_set_dt(&motor_gpio, 0);
        k_msleep(off_time_ms);
    }
}

static void motor_pulse(u32_t duration_ms)
{
    motor_pwm_soft(50U, duration_ms);  /* 50% duty pentru pulse normal */
}

/* ---------- Buzzer patterns ---------- */
/*
 * Software PWM pentru buzzer pasiv: toggle GPIO la freq_hz timp de duration_ms ms.
 * k_busy_wait este intenționat — perioadele sunt de ordinul sutelor de µs.
 */
static void buzzer_beep(u32_t freq_hz, u32_t duration_ms)
{
    if (freq_hz == 0U || duration_ms == 0U) {
        return;
    }

    u32_t half_period_us = 500000U / freq_hz; /* µs la jumătate de perioadă */
    u32_t total_us       = duration_ms * 1000U;
    u32_t elapsed        = 0U;

    while (elapsed < total_us) {
        gpio_pin_set_dt(&buzzer_gpio, 1);
        k_busy_wait(half_period_us);
        gpio_pin_set_dt(&buzzer_gpio, 0);
        k_busy_wait(half_period_us);
        elapsed += half_period_us * 2U;
    }
}

/* ---------- SOS pattern (degraded mode alarm) ---------- */
static void play_sos_pattern(void)
{
    /* SOS: ··· ——— ··· */
    /* 3 short beeps */
    for (u8_t i = 0U; i < 3U; i++) {
        motor_pulse(100U);
        buzzer_beep(2500U, 100U);
        k_msleep(50U);
    }
    k_msleep(150U);
    /* 3 long beeps */
    for (u8_t i = 0U; i < 3U; i++) {
        motor_pulse(HAPTIC_SOS_PULSE_MS);
        buzzer_beep(2500U, HAPTIC_SOS_PULSE_MS);
        k_msleep(100U);
    }
    k_msleep(150U);
    /* 3 short beeps */
    for (u8_t i = 0U; i < 3U; i++) {
        motor_pulse(100U);
        buzzer_beep(2500U, 100U);
        k_msleep(50U);
    }
}

/* ---------- OLED helpers ---------- */
static int oled_cmd(uint8_t cmd)
{
    uint8_t buf[2] = { 0x00U, cmd };

    return i2c_write(oled_i2c_dev, buf, sizeof(buf), oled_i2c_addr);
}

static int oled_data(const uint8_t *data, size_t len)
{
    uint8_t buf[1U + OLED_WIDTH_PX];

    if (len > OLED_WIDTH_PX) {
        return -EINVAL;
    }

    buf[0] = 0x40U;
    (void)memcpy(&buf[1], data, len);

    return i2c_write(oled_i2c_dev, buf, (uint32_t)(len + 1U), oled_i2c_addr);
}

static int oled_send_cmds(uint8_t addr, const uint8_t *cmds, size_t count)
{
    oled_i2c_addr = addr;
    for (size_t i = 0U; i < count; i++) {
        int rc = oled_cmd(cmds[i]);
        if (rc < 0) {
            return rc;
        }
    }

    return 0;
}

static int oled_init_ssd1306_at(uint8_t addr)
{
    static const uint8_t init_seq[] = {
        0xAEU,       /* display off */
        0xD5U, 0x80U,
        0xA8U, 0x3FU,
        0xD3U, 0x00U,
        0x40U,
        0x8DU, 0x14U,
        0x20U, 0x02U, /* page addressing, same as the working OLED test */
        0xA1U,
        0xC8U,
        0xDAU, 0x12U,
        0x81U, 0xCFU,
        0xD9U, 0xF1U,
        0xDBU, 0x40U,
        0xA4U,
        0xA6U,
        0xAFU        /* display on */
    };

    oled_col_offset = 0U;
    return oled_send_cmds(addr, init_seq, sizeof(init_seq));
}

static int oled_init_sh1106_at(uint8_t addr)
{
    static const uint8_t init_seq[] = {
        0xAEU,
        0xD5U, 0x80U,
        0xA8U, 0x3FU,
        0xD3U, 0x00U,
        0x40U,
        0xADU, 0x8BU,
        0xA1U,
        0xC8U,
        0xDAU, 0x12U,
        0x81U, 0x80U,
        0xD9U, 0x22U,
        0xDBU, 0x35U,
        0xA4U,
        0xA6U,
        0xAFU,
    };

    oled_col_offset = 2U;
    return oled_send_cmds(addr, init_seq, sizeof(init_seq));
}

static int oled_raw_init(void)
{
    if (!device_is_ready(oled_i2c_dev)) {
        LOG_WRN("OLED I2C2 bus not ready");
        return -ENODEV;
    }

    static const uint8_t addrs[] = { 0x3CU, 0x3DU };

    for (size_t i = 0U; i < ARRAY_SIZE(addrs); i++) {
        uint8_t addr = addrs[i];

        if (oled_init_ssd1306_at(addr) == 0) {
            LOG_INF("OLED SSD1306 init OK at 0x%02x", addr);
            return 0;
        }

        if (oled_init_sh1106_at(addr) == 0) {
            LOG_INF("OLED SH1106 init OK at 0x%02x", addr);
            return 0;
        }
    }

    oled_i2c_addr = 0U;
    oled_col_offset = 0U;
    LOG_WRN("OLED not found at 0x3c/0x3d");
    return -ENODEV;
}

static void oled_write_page(u8_t page, const uint8_t line[OLED_WIDTH_PX])
{
    if (!oled_ready || oled_i2c_addr == 0U) {
        return;
    }

    (void)oled_cmd((uint8_t)(0xB0U | (page & 0x07U)));
    (void)oled_cmd((uint8_t)(0x00U + (oled_col_offset & 0x0FU)));
    (void)oled_cmd((uint8_t)(0x10U + ((oled_col_offset >> 4U) & 0x0FU)));
    (void)oled_data(line, OLED_WIDTH_PX);
}

static u8_t gesture_to_mask(u8_t gesture_id)
{
    switch (gesture_id) {
    case GESTURE_INDEX:
        return (u8_t)(1U << FINGER_INDEX);
    case GESTURE_MIDDLE:
        return (u8_t)(1U << FINGER_MIDDLE);
    case GESTURE_RING:
        return (u8_t)(1U << FINGER_RING);
    case GESTURE_PINKY:
        return (u8_t)(1U << FINGER_PINKY);
    case GESTURE_FIST:
        return 0x0FU;
    case GESTURE_HELP:
        return (u8_t)((1U << FINGER_RING) | (1U << FINGER_PINKY));
    case GESTURE_NONE:
    default:
        return 0U;
    }
}

static void oled_draw_bars(u8_t active_mask, bool alarm)
{
    uint8_t line[OLED_WIDTH_PX];

    if (!oled_ready) {
        return;
    }

    for (u8_t page = 0U; page < OLED_PAGE_COUNT; page++) {
        (void)memset(line, 0x00, sizeof(line));

        for (u8_t finger = 0U; finger < OLED_BAR_COUNT; finger++) {
            bool active = ((active_mask & (u8_t)(1U << finger)) != 0U);
            u8_t bar_pages = active ? OLED_ACTIVE_BAR_PAGES : OLED_IDLE_BAR_PAGES;
            u8_t first_page_on = (u8_t)(OLED_PAGE_COUNT - bar_pages);

            if (page >= first_page_on) {
                u8_t x0 = (u8_t)(OLED_BAR_X0 + finger * (OLED_BAR_WIDTH + OLED_BAR_GAP));
                u8_t x1 = (u8_t)(x0 + OLED_BAR_WIDTH);

                if (x1 > OLED_WIDTH_PX) {
                    x1 = OLED_WIDTH_PX;
                }

                for (u8_t x = x0; x < x1; x++) {
                    line[x] = 0xFFU;
                }
            }
        }

        /* Bottom baseline stays visible in idle state too. */
        if (page == (OLED_PAGE_COUNT - 1U)) {
            for (u8_t x = 0U; x < OLED_WIDTH_PX; x++) {
                line[x] = (uint8_t)(line[x] | 0x03U);
            }
        }

        if (alarm) {
            line[0] = 0xFFU;
            line[1] = 0xFFU;
            line[OLED_WIDTH_PX - 2U] = 0xFFU;
            line[OLED_WIDTH_PX - 1U] = 0xFFU;

            if ((page == 0U) || (page == (OLED_PAGE_COUNT - 1U))) {
                (void)memset(line, 0xFF, sizeof(line));
            }
        }

        oled_write_page(page, line);
    }
}

static void oled_draw_boot_pattern(void)
{
    uint8_t line[OLED_WIDTH_PX];

    if (!oled_ready) {
        return;
    }

    memset(line, 0xFF, sizeof(line));

    for (u8_t page = 0U; page < OLED_PAGE_COUNT; page++) {
        oled_write_page(page, line);
        k_msleep(30U);
    }
}

static int oled_show_gesture(u8_t gesture_id)
{
    u8_t mask = gesture_to_mask(gesture_id);

    if (gesture_id > GESTURE_MAX_ID) {
        LOG_WRN("GESTURE invalid id=%u", gesture_id);
    }

    last_gesture_mask = mask;
    LOG_INF("GESTURE id=%u mask=0x%02x", gesture_id, mask);
    oled_draw_bars(mask, false);

    return 0;
}

/**
 * @brief Display "OK" pattern on OLED: 3 quick full-screen flashes.
 *
 * Used when phone confirms "inteles". No font needed — visible blink
 * pattern distinguishes ACK from normal gesture bar display.
 */
static void oled_show_ok(void)
{
    uint8_t line_full[OLED_WIDTH_PX];
    uint8_t line_empty[OLED_WIDTH_PX];
    if (!oled_ready) {
        return;
    }

    (void)memset(line_full,  0xFFU, sizeof(line_full));
    (void)memset(line_empty, 0x00U, sizeof(line_empty));

    /* 3 full-screen blink flashes = "OK received" */
    for (u8_t flash = 0U; flash < 3U; flash++) {
        /* Fill screen */
        for (u8_t page = 0U; page < OLED_PAGE_COUNT; page++) {
            oled_write_page(page, line_full);
        }
        k_msleep(120U);
        /* Clear screen */
        for (u8_t page = 0U; page < OLED_PAGE_COUNT; page++) {
            oled_write_page(page, line_empty);
        }
        k_msleep(80U);
    }

    /* Restore last gesture display */
    oled_draw_bars(last_gesture_mask, false);
}

/* ---------- Haptic thread ---------- */
void haptic_thread_entry(void *p1, void *p2, void *p3)
{
    ARG_UNUSED(p1);
    ARG_UNUSED(p2);
    ARG_UNUSED(p3);

    LOG_INF("Haptic/UI thread started");

    if (!device_is_ready(motor_gpio.port)) {
        LOG_ERR("Motor GPIO device not ready");
    } else if (gpio_pin_configure_dt(&motor_gpio, GPIO_OUTPUT_INACTIVE) != 0) {
        LOG_ERR("Motor GPIO configure failed");
    }
    if (!device_is_ready(buzzer_gpio.port)) {
        LOG_ERR("Buzzer GPIO device not ready");
    } else if (gpio_pin_configure_dt(&buzzer_gpio, GPIO_OUTPUT_INACTIVE) != 0) {
        LOG_ERR("Buzzer GPIO configure failed");
    }

    k_msleep(2000U);
    if (oled_raw_init() == 0) {
        oled_ready = true;
        oled_draw_boot_pattern();
        oled_draw_bars(0U, false);
        LOG_INF("OLED boot pattern shown");
    } else {
        oled_ready = false;
        LOG_WRN("OLED init failed");
    }

    while (1) {
        uint32_t events = k_event_wait(&haptic_events,
                                       EVT_GESTURE_ACK | EVT_MESSAGE_RX |
                                       EVT_ERROR | EVT_SOS_ALARM | EVT_ACK_RECEIVED,
                                       false, K_MSEC(OLED_REFRESH_MS));

        if (events & EVT_SOS_ALARM) {
            k_event_clear(&haptic_events, EVT_SOS_ALARM);
            play_sos_pattern();
        }

        if (events & EVT_GESTURE_ACK) {
            k_event_clear(&haptic_events, EVT_GESTURE_ACK);

            /* Per-gesture beep count: NONE=0, INDEX=1, MIDDLE=2, RING=3,
             * PINKY=4, FIST=5 (long), HELP=2 rapid (SOS-like) */
            static const uint8_t k_beep_count[] = {
                [GESTURE_NONE]   = 0U,
                [GESTURE_INDEX]  = 1U,
                [GESTURE_MIDDLE] = 2U,
                [GESTURE_RING]   = 3U,
                [GESTURE_PINKY]  = 4U,
                [GESTURE_FIST]   = 5U,
                [GESTURE_HELP]   = 2U,
            };

            u8_t gid = (u8_t)atomic_get(&s_pending_gesture_id);
            uint8_t beeps = (gid <= (u8_t)GESTURE_MAX_ID) ?
                            k_beep_count[gid] : 0U;

            /* Short motor pulse for tactile confirmation */
            motor_pulse(HAPTIC_GESTURE_PULSE_MS);

            /* N auditory beeps per gesture */
            for (u8_t b = 0U; b < beeps; b++) {
                buzzer_beep(2000U, 80U);
                k_msleep(100U);
            }
        }

        if (events & EVT_ACK_RECEIVED) {
            k_event_clear(&haptic_events, EVT_ACK_RECEIVED);
            /* "inteles" from phone: OLED flash + 2 ascending beeps + motor */
            oled_show_ok();
            motor_pulse(80U);
            k_msleep(60U);
            motor_pulse(80U);
            buzzer_beep(1200U, 80U);
            k_msleep(80U);
            buzzer_beep(2400U, 120U);
        }

        if (events & EVT_MESSAGE_RX) {
            k_event_clear(&haptic_events, EVT_MESSAGE_RX);
            motor_pulse(HAPTIC_MSG_PULSE_MS);
            k_msleep(100U);
            motor_pulse(HAPTIC_MSG_PULSE_MS);
        }

        if (events & EVT_ERROR) {
            k_event_clear(&haptic_events, EVT_ERROR);
            for (u8_t i = 0U; i < 3U; i++) {
                motor_pulse(HAPTIC_ERROR_PULSE_MS);
                buzzer_beep(1000U, HAPTIC_ERROR_PULSE_MS);
                k_msleep(50U);
            }
        }
    }
}

/* ---------- Public API ---------- */
void haptic_notify_gesture(u8_t gesture_id)
{
    atomic_set(&s_pending_gesture_id, (atomic_val_t)gesture_id);
    oled_show_gesture(gesture_id);
    k_event_post(&haptic_events, EVT_GESTURE_ACK);
}

void haptic_notify_message(void)
{
    k_event_post(&haptic_events, EVT_MESSAGE_RX);
}

void haptic_notify_error(void)
{
    oled_draw_bars(last_gesture_mask, true);
    k_event_post(&haptic_events, EVT_ERROR);
}

void haptic_notify_sos(void)
{
    oled_draw_bars(0x0FU, true);
    k_event_post(&haptic_events, EVT_SOS_ALARM);
}

void haptic_notify_ack_received(void)
{
    k_event_post(&haptic_events, EVT_ACK_RECEIVED);
}
```
